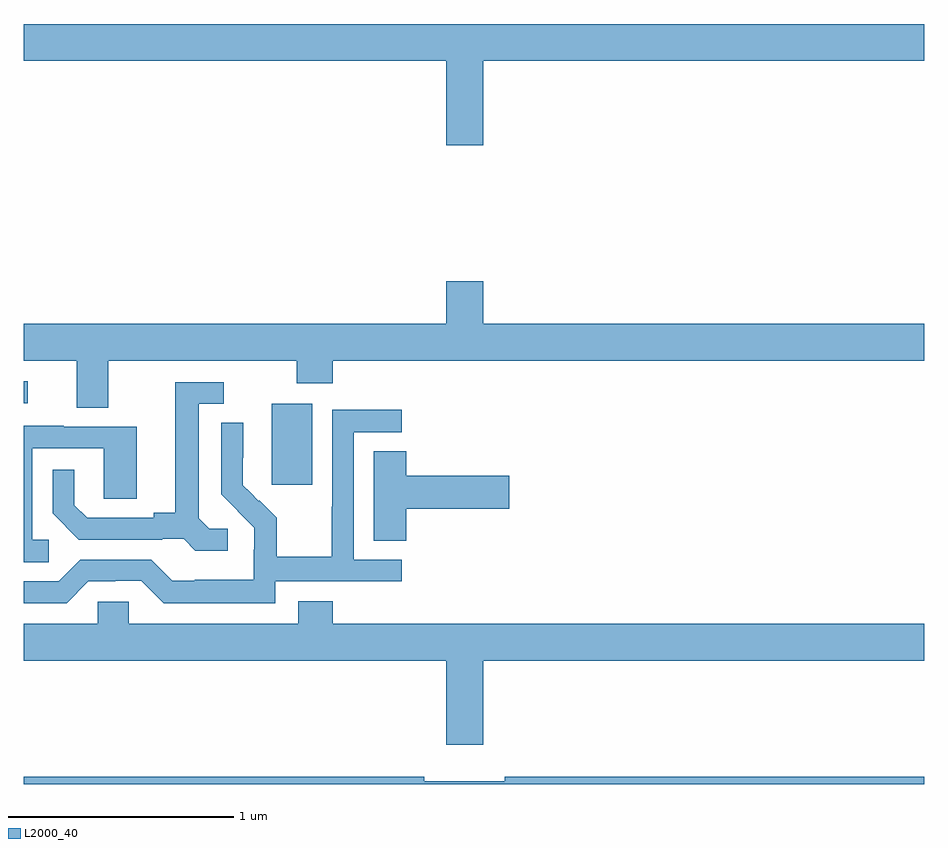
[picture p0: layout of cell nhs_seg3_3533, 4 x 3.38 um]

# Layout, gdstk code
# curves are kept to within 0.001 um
import gdstk
lib = gdstk.Library(unit=1e-6, precision=1e-09)
def R(c, l, rs):  # rectangles x0, y0, x1, y1
    for r in rs: c.add(gdstk.rectangle(r[:2], r[2:], *l))
def P(c, l, *ps):  # polygons
    for p in ps: c.add(gdstk.Polygon(p, *l))
L2000_40 = (2000, 40)

nhs_seg3_3533 = lib.new_cell('nhs_seg3_3533')
R(nhs_seg3_3533, L2000_40, [(296.102,669.729,296.281,670.09), (295,670.092,295.018,670.188)])
P(nhs_seg3_3533, L2000_40, [(297.04,671.612),(299,671.612),(299,671.776),(295,671.776),(295,671.612),(296.876,671.612),(296.876,671.238),(297.04,671.238)],
  [(295.375,670.28),(296.212,670.28),(296.212,670.181),(296.372,670.181),(296.372,670.28),(299,670.28),(299,670.444),(297.04,670.444),(297.04,670.633),(296.876,670.633),(296.876,670.444),(295,670.444),(295,670.28),(295.235,670.28),(295.235,670.072),(295.375,670.072)],
  [(295.906,669.534),(295.824,669.534),(295.777,669.581),(295.777,670.089),(295.888,670.089),(295.888,670.185),(295.673,670.185),(295.673,669.605),(295.577,669.605),(295.577,669.582),(295.282,669.582),(295.225,669.639),(295.225,669.796),(295.128,669.796),(295.128,669.602),(295.244,669.486),(295.616,669.486),(295.616,669.489),(295.71,669.489),(295.762,669.437),(295.906,669.437)],
  [(296.118,669.3),(296.68,669.3),(296.68,669.396),(296.466,669.396),(296.466,669.963),(296.68,669.963),(296.68,670.062),(296.37,670.062),(296.37,669.632),(296.368,669.632),(296.368,669.409),(296.123,669.409),(296.123,669.583),(296.046,669.66),(296.043,669.657),(295.973,669.728),(295.974,670.004),(295.878,670.004),(295.878,669.686),(296.024,669.538),(296.024,669.441),(296.022,669.441),(296.022,669.307),(295.759,669.307),(295.759,669.303),(295.659,669.303),(295.566,669.396),(295.251,669.396),(295.155,669.3),(295,669.3),(295,669.204),(295.191,669.204),(295.287,669.3),(295.406,669.3),(295.406,669.303),(295.521,669.303),(295.621,669.203),(296.118,669.203)],
  [(295.111,669.486),(295.038,669.486),(295.038,669.891),(295.356,669.891),(295.356,669.667),(295.501,669.667),(295.501,669.987),(295.177,669.987),(295.177,669.991),(295,669.991),(295,669.385),(295.111,669.385)],
  [(296.699,669.623),(297.157,669.623),(297.157,669.77),(296.699,669.77),(296.699,669.878),(296.555,669.878),(296.555,669.481),(296.699,669.481)],
  [(297.04,668.948),(299,668.948),(299,669.112),(296.372,669.112),(296.372,669.211),(296.219,669.211),(296.219,669.112),(295.467,669.112),(295.467,669.21),(295.329,669.21),(295.329,669.112),(295,669.112),(295,668.948),(296.876,668.948),(296.876,668.574),(297.04,668.574)],
  [(299,668.432),(297.136,668.432),(297.136,668.413),(296.78,668.413),(296.78,668.432),(295,668.432),(295,668.4),(299,668.4)])

lib.write_gds('nhs_seg3_3533.gds')
